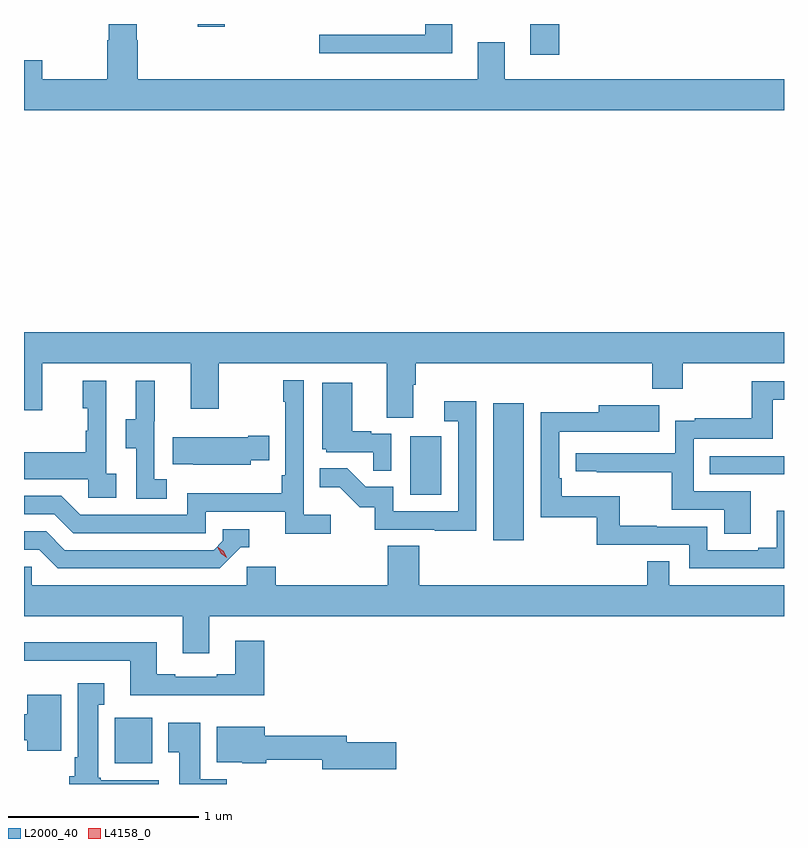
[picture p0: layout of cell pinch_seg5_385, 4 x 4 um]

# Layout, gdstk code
import gdstk
lib = gdstk.Library(unit=1e-6, precision=1e-09)
def R(c, l, rs):  # rectangles x0, y0, x1, y1
    for r in rs: c.add(gdstk.rectangle(r[:2], r[2:], *l))
def P(c, l, *ps):  # polygons
    for p in ps: c.add(gdstk.Polygon(p, *l))
L2000_40 = (2000, 40)
L4158_0 = (4158, 0)

pinch_seg5_385 = lib.new_cell('pinch_seg5_385')
R(pinch_seg5_385, L2000_40, [(994.976,870.638,995.173,870.88), (996.968,871.812,997.129,872.533), (996.53,872.052,996.694,872.359), (998.107,872.16,998.498,872.256), (997.163,874.368,997.316,874.53), (995.413,874.515,995.555,874.53)])
P(pinch_seg5_385, L2000_40, [(998.498,874.24),(997.027,874.24),(997.027,874.435),(996.887,874.435),(996.887,874.24),(995.096,874.24),(995.096,874.445),(995.091,874.445),(995.091,874.53),(994.943,874.53),(994.943,874.445),(994.936,874.445),(994.936,874.24),(994.593,874.24),(994.593,874.339),(994.498,874.339),(994.498,874.076),(998.498,874.076)],
  [(996.751,874.53),(996.611,874.53),(996.611,874.473),(996.051,874.473),(996.051,874.376),(996.751,874.376)],
  [(996.547,872.632),(996.56,872.632),(996.56,872.744),(997.805,872.744),(997.805,872.609),(997.965,872.609),(997.965,872.744),(998.498,872.744),(998.498,872.908),(994.498,872.908),(994.498,872.496),(994.595,872.496),(994.595,872.744),(995.375,872.744),(995.375,872.505),(995.523,872.505),(995.523,872.744),(996.407,872.744),(996.407,872.458),(996.547,872.458)],
  [(996.112,871.948),(995.97,871.948),(995.97,872.656),(995.862,872.656),(995.862,872.543),(995.874,872.543),(995.874,872.155),(995.854,872.155),(995.854,872.059),(995.358,872.059),(995.358,871.947),(994.794,871.947),(994.695,872.046),(994.498,872.046),(994.498,871.95),(994.658,871.95),(994.757,871.851),(995.454,871.851),(995.454,871.962),(995.873,871.962),(995.873,871.846),(996.112,871.846)],
  [(995.248,872.135),(995.184,872.135),(995.184,872.439),(995.186,872.439),(995.186,872.653),(995.087,872.653),(995.087,872.451),(995.033,872.451),(995.033,872.296),(995.088,872.296),(995.088,872.032),(995.248,872.032)],
  [(994.984,872.162),(994.932,872.162),(994.932,872.653),(994.808,872.653),(994.808,872.508),(994.834,872.508),(994.834,872.39),(994.824,872.39),(994.824,872.275),(994.498,872.275),(994.498,872.135),(994.836,872.135),(994.836,872.037),(994.984,872.037)],
  [(998.323,872.07),(998.022,872.07),(998.022,872.346),(998.439,872.346),(998.439,872.552),(998.498,872.552),(998.498,872.649),(998.328,872.649),(998.328,872.455),(998.029,872.455),(998.029,872.443),(997.926,872.443),(997.926,872.271),(997.401,872.271),(997.401,872.175),(997.513,872.175),(997.513,872.17),(997.906,872.17),(997.906,871.974),(998.183,871.974),(998.183,871.846),(998.323,871.846)],
  [(996.432,872.373),(996.326,872.373),(996.326,872.386),(996.226,872.386),(996.226,872.641),(996.068,872.641),(996.068,872.292),(996.09,872.292),(996.09,872.277),(996.337,872.277),(996.337,872.179),(996.432,872.179)],
  [(996.879,872.545),(996.711,872.545),(996.711,872.439),(996.783,872.439),(996.783,871.965),(996.441,871.965),(996.441,872.094),(996.297,872.094),(996.199,872.192),(996.055,872.192),(996.055,872.093),(996.159,872.093),(996.266,871.986),(996.343,871.986),(996.343,871.869),(996.661,871.869),(996.661,871.864),(996.879,871.864)],
  [(998.498,871.967),(998.459,871.967),(998.459,871.774),(998.363,871.774),(998.363,871.761),(998.094,871.761),(998.094,871.884),(997.829,871.884),(997.829,871.889),(997.633,871.889),(997.633,872.044),(997.328,872.044),(997.328,872.14),(997.314,872.14),(997.314,872.385),(997.627,872.385),(997.627,872.384),(997.841,872.384),(997.841,872.524),(997.523,872.524),(997.523,872.486),(997.218,872.486),(997.218,871.935),(997.512,871.935),(997.512,871.788),(997.998,871.788),(997.998,871.665),(998.498,871.665)],
  [(995.691,872.234),(995.789,872.234),(995.789,872.364),(995.678,872.364),(995.678,872.356),(995.281,872.356),(995.281,872.213),(995.389,872.213),(995.389,872.21),(995.691,872.21)],
  [(995.64,871.776),(995.683,871.776),(995.683,871.872),(995.544,871.872),(995.544,871.809),(995.496,871.761),(994.713,871.761),(994.614,871.86),(994.498,871.86),(994.498,871.764),(994.577,871.764),(994.676,871.665),(995.529,871.665)],
  [(995.473,871.412),(998.498,871.412),(998.498,871.576),(997.893,871.576),(997.893,871.703),(997.777,871.703),(997.777,871.576),(996.578,871.576),(996.578,871.784),(996.413,871.784),(996.413,871.576),(995.822,871.576),(995.822,871.674),(995.67,871.674),(995.67,871.576),(994.539,871.576),(994.539,871.674),(994.498,871.674),(994.498,871.412),(995.333,871.412),(995.333,871.218),(995.473,871.218)],
  [(995.762,871.285),(995.609,871.285),(995.609,871.108),(995.513,871.108),(995.513,871.095),(995.293,871.095),(995.293,871.108),(995.197,871.108),(995.197,871.276),(994.498,871.276),(994.498,871.179),(995.057,871.179),(995.057,870.998),(995.762,870.998)],
  [(995.206,870.55),(994.902,870.55),(994.902,870.564),(994.888,870.564),(994.888,870.947),(994.921,870.947),(994.921,871.06),(994.781,871.06),(994.781,870.67),(994.766,870.67),(994.766,870.57),(994.736,870.57),(994.736,870.53),(995.206,870.53)],
  [(994.693,871),(994.514,871),(994.514,870.896),(994.498,870.896),(994.498,870.76),(994.514,870.76),(994.514,870.704),(994.693,870.704)],
  [(995.564,870.556),(995.425,870.556),(995.425,870.853),(995.258,870.853),(995.258,870.697),(995.315,870.697),(995.315,870.53),(995.564,870.53)],
  [(996.457,870.749),(996.196,870.749),(996.196,870.785),(995.764,870.785),(995.764,870.832),(995.513,870.832),(995.513,870.644),(995.646,870.644),(995.646,870.638),(995.772,870.638),(995.772,870.657),(996.068,870.657),(996.068,870.607),(996.457,870.607)])
P(pinch_seg5_385, L4158_0, [(995.565,871.722),(995.535,871.742),(995.519,871.774),(995.519,871.775),(995.52,871.775),(995.55,871.755),(995.565,871.722),(995.565,871.722)])

lib.write_gds('pinch_seg5_385.gds')
